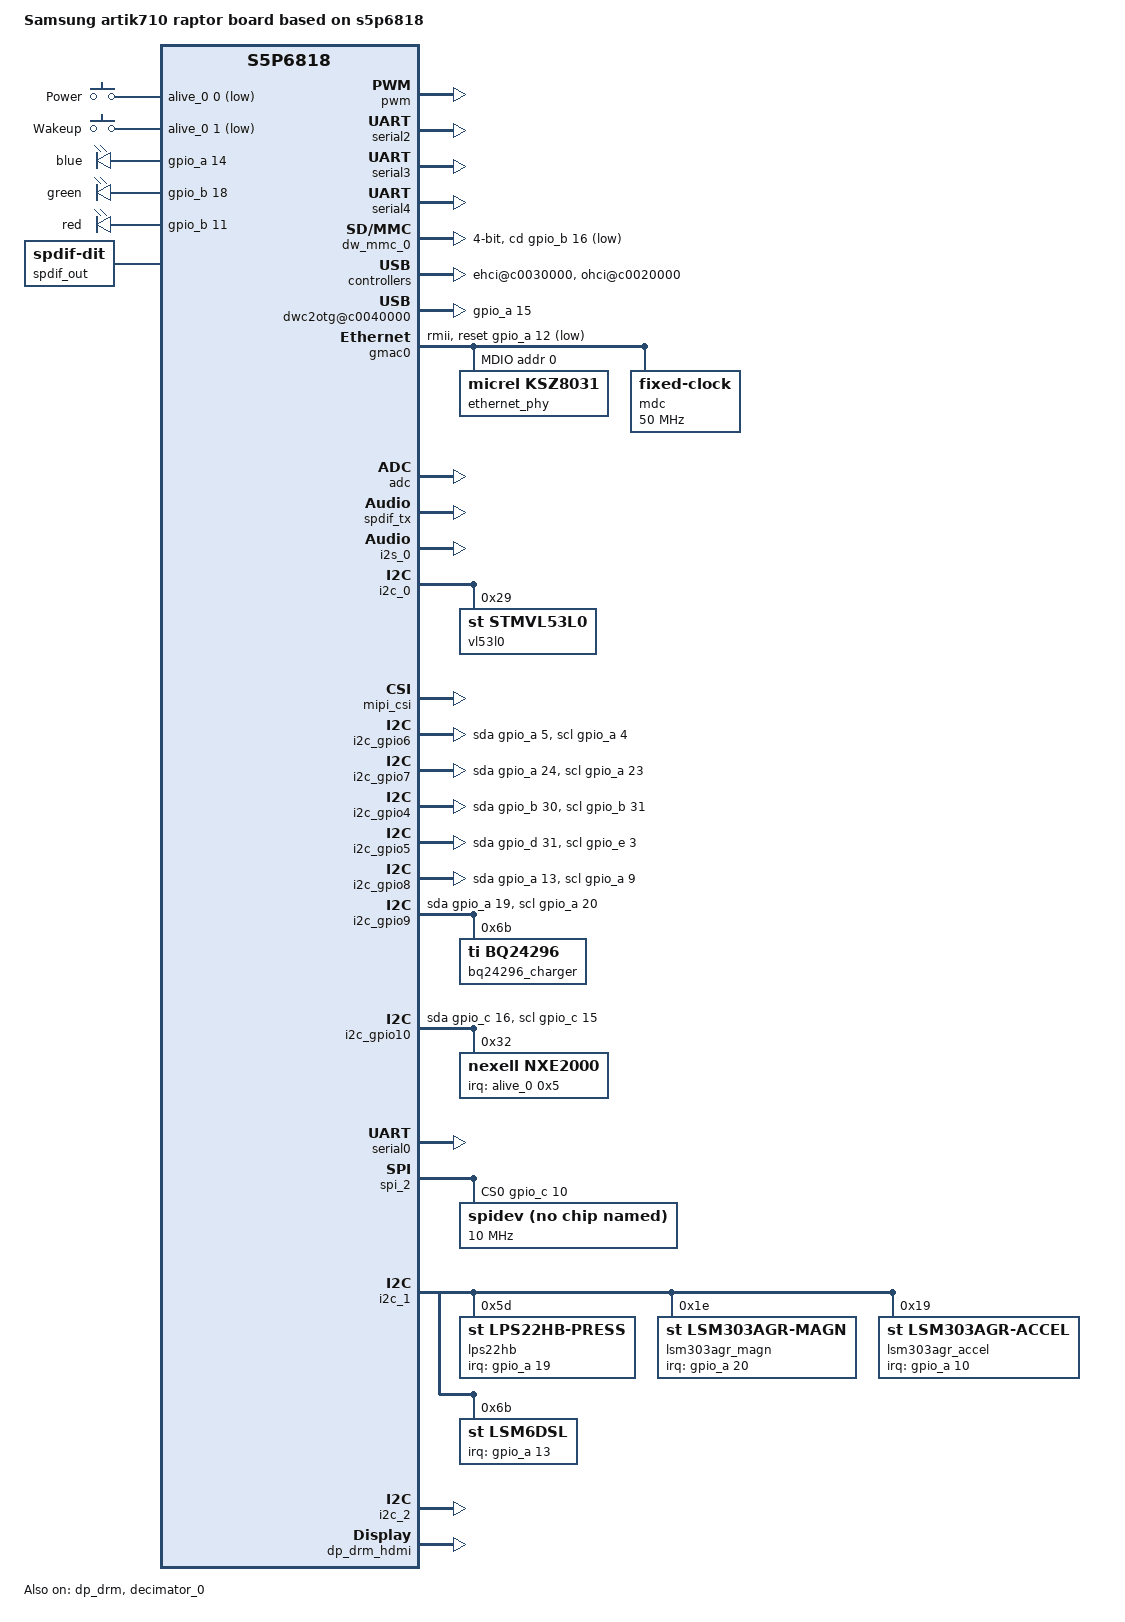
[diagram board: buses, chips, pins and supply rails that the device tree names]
/*
 * Copyright (C) 2016  Nexell Co., Ltd.
 * Author: Youngbok, Park <ybpark@nexell.co.kr>
 *
 * This program is free software; you can redistribute it and/or
 * modify it under the terms of the GNU General Public License
 * as published by the Free Software Foundation; either version 2
 * of the License, or (at your option) any later version.
 *
 * This program is distributed in the hope that it will be useful,
 * but WITHOUT ANY WARRANTY; without even the implied warranty of
 * MERCHANTABILITY or FITNESS FOR A PARTICULAR PURPOSE.  See the
 * GNU General Public License for more details.
 *
 * You should have received a copy of the GNU General Public License
 * along with this program.  If not, see <http://www.gnu.org/licenses/>.
 */

#include <dt-bindings/interrupt-controller/irq.h>
#include <dt-bindings/input/input.h>
#include "s5p6818-artik710.dtsi"

#define PMIC_PDATA_INIT(_id, _rname, _minuv,	\
			_maxuv, _init_uv, _init_enable,		\
			_set_init_uV, _slp_slots)	\
		regulator-name = _rname;		\
		regulator-min-microvolt = <_minuv>;	\
		regulator-max-microvolt = <_maxuv>;	\
		nx,id = <_id>;				\
		nx,init_enable = <_init_enable>;	\
		nx,init_uV = <_init_uv>;		\
		nx,set_init_uV = <_set_init_uV>;	\
		nx,sleep_slots = <_slp_slots>;

/ {
	model = "Samsung artik710 raptor board based on s5p6818";
	compatible = "samsung,artik710-raptor", "samsung,artik710",
		   "nexell,s5p6818";

	aliases {
		i2c3 = &i2c_gpio3;
		i2c4 = &i2c_gpio4;
		i2c5 = &i2c_gpio5;
		i2c6 = &i2c_gpio6;
		i2c7 = &i2c_gpio7;
		i2c8 = &i2c_gpio8;
		i2c9 = &i2c_gpio9;
		i2c10 = &i2c_gpio10;
	};

	nx-v4l2 {
		status = "okay";
	};

	nx-devfreq {
		pll = <0>;
		status = "okay";
	};

	soc {

		clocks {
			vip0:vip@c00c1000 { clock-frequency = <300000000>;};
			sdhc0:sdhc@c00c5000 {
			      clk-input = <(I_PLL2 | I_GATE_PCLK)>;
			};
			sdhc1:sdhc@c00cc000 {
			      clk-input = <(I_PLL2 | I_GATE_PCLK)>;
			};
			sdhc2:sdhc@c00cd000 {
			      clk-input = <(I_PLL2 | I_GATE_PCLK)>;
			};
			timer0:timer@c00b9000 {
			      clk-input = <I_PLL2>;
			};
			timer1:timer@c00bb000 {
			      clk-input = <I_PLL2>;
			};
			pwm0:pwm0@c00ba000 {
			      clk-input = <I_PLL2>;
			};
		};

		timer@c0017000 {
			clocks =  <&timer0>, <&timer1>;
			clock-names = "timer0", "timer1";
		};

		pwm:pwm@c0018000 {
			clocks =  <&pwm0>, <&pwm2>;
			clock-names = "pwm-tclk0", "pwm-tclk1";
		};

		serial2:serial@c00a2000 {
			status ="okay";
		};

		serial3:serial@c00a3000 {
			status ="okay";
		};

		serial4:serial@c006d000 {
			status ="okay";
		};

		dw_mmc_0:dw_mmc@c0062000 {
			num-slots = <1>;
			bus-width = <4>;
			cap-sd-highspeed;
			clock-frequency = <100000000>;
			card-detect-delay = <200>;
			disable-wp;
			cd-gpios = <&gpio_b 16 0>;
			cd-inverted;
			nexell,drive_dly = <0x0>;
			nexell,drive_shift = <0x02>;
			nexell,sample_dly = <0x00>;
			nexell,sample_shift = <0x01>;
			status = "okay";
		};

		nexell_usbphy: nexell-usbphy@c0012000 {
			status = "okay";
		};

		ehci@c0030000 {
			samsung,vbus-gpio = <&gpio_a 16 0>;
			status = "okay";
			port@0 {
				status = "okay";
			};
			port@1 {
				status = "okay";
			};
		};

		ohci@c0020000 {
			status = "okay";
			port@0 {
				status = "okay";
			};
		};

		dwc2otg@c0040000 {
			gpios = <&gpio_a 15 0>;
			status = "okay";
		};

		gmac0:ethernet@c0060000 {
			pinctrl-names = "default";
			pinctrl-0 = <&gmac_pins>;

			status = "okay";
			#address-cells = <0x1>;
			#size-cells = <0x0>;

			snps,phy-addr = <0>;
			snps,reset-gpio = <&gpio_a 12 0>;
			snps,reset-active-low;
			snps,reset-delays-us = <0 10000 30000>;
			phy-mode = "rmii";

			boost-busfreq;
			boost-busfreq-timeout = <100000>;
			

			mdio {
				#address-cells = <1>;
				#size-cells = <0>;

				ethernet_phy: ethernet-phy@0 {
					compatible = "micrel,ksz8031";
					micrel,rmii-reference-clock-select-25-mhz;
					clocks = <&mdc>;
					clock-names = "rmii-ref";
					phy-handle = <&ethernet_phy>;
					reg = <0>;
				};

			};

			mdc: rmii-ref {
				#clock-cells = <0>;
				compatible ="fixed-clock";
				clock-frequency = <50000000>;
			};
		};


		adc:adc@c0053000 {
			status = "okay";
		};

		watchdog@c0019000 {
			status = "okay";
		};

		pinctrl@C0010000 {
			key_pwr:key_pwr {
				nexell,pins = "alive-1";
				nexell,pin-function = <0>;
				nexell,pin-pull = <1>;
				nexell,pin-strength = <0>;
			};

			key_wakeup:key_wakeup {
				nexell,pins = "alive-2";
				nexell,pin-function = <0>;
				nexell,pin-pull = <1>;
				nexell,pin-strength = <0>;
			};

			pmic_irq:pmic_irq{
				nexell,pins = "alive-5";
				nexell,pin-function = <0>;
				nexell,pin-pull = <1>;
				nexell,pin-strength = <0>;
			};

			touchpanel_irq: touchpanel-irq {
				nexell,pins = "gpiob-22";
				nexell,pin-function = <1>;
				nexell,pin-pull = <1>;
				nexell,pin-strength = <0>;
			};

			tsp_irq: tsp-irq {
				nexell,pins = "gpiob-8";
				nexell,pin-function = <0>;
				nexell,pin-pull = <1>;
				nexell,pin-strength = <0>;
			};

			tsp_reset: tsp-reset {
				nexell,pins = "gpioc-25";
				nexell,pin-function = <0>;
				nexell,pin-pull = <1>;
				nexell,pin-strength = <0>;
			};
		};

		spdif_tx: spdiftx@c0059000 {
			#sound-dai-cells = <1>;
			pcm-bit = <16>;
			sample_rate = <48000>;
			status = "okay";
		};

		video-codec@c0080000 {
			status = "okay";
			sram = <0 0>;
		};

		i2s_0:i2s@c0055000 {
			#sound-dai-cells = <1>;
			master-mode = <1>;
			mclk-in = <0>;
			trans-mode = <0>;
			frame-bit = <32>;
			sample-rate = <48000>;
			pre-supply-mclk = <1>;
			status = "okay";
		};

		vip_0:vip@c0063000 {
			status = "okay";
		};

		i2c_0:i2c@c00a4000 {
			#address-cells = <1>;
			#size-cells = <0>;
			rate = <400000>;
			samsung,i2c-max-bus-freq = <400000>;
			status = "okay";

			vl53l0@29 {
				compatible = "st,stmvl53l0";
				reg = <0x29>;
			};
		};

		mipi_csi:mipi_csi@c00d0000 {
			data_lane = <2>;
			pllval = <750>;
			hssettle = <7>;
			status = "okay";
		};

		clipper_0:clipper0@c0063000 {
			interface_type = <NX_CAPTURE_INTERFACE_MIPI_CSI>;
			gpios = <&gpio_a 17 0 &gpio_a 3 0 &gpio_a 6 0>;
			data_order = <NX_VIN_Y0CBY1CR>;
			status = "okay";
			sensor {
				type = <NX_CAPTURE_SENSOR_I2C>;
				i2c_name = "S5K4ECGA";
				i2c_adapter = <0>;
				addr = <0x56>;
			};
			power {
				enable_seq = <
					NX_ACTION_START NX_ACTION_TYPE_GPIO 2 1 2 NX_ACTION_END
					NX_ACTION_START NX_ACTION_TYPE_GPIO 1 1 1 NX_ACTION_END
					NX_ACTION_START NX_ACTION_TYPE_GPIO 0 1 1 NX_ACTION_END
				>;

				disable_seq = <
					NX_ACTION_START NX_ACTION_TYPE_GPIO 0 0 1 NX_ACTION_END
					NX_ACTION_START NX_ACTION_TYPE_GPIO 1 0 1 NX_ACTION_END
					NX_ACTION_START NX_ACTION_TYPE_GPIO 2 0 2 NX_ACTION_END
				>;
			};
		};

		scaler@c0066000 {
			status = "okay";
		};
	};	/*** soc ***/

	i2c_gpio6:i2c@6 {
		compatible = "i2c-gpio";
		gpios = <&gpio_a 5 0 /* sda */
			&gpio_a 4 0 /* scl */
			>;
		i2c-gpio,delay-us = <10>;
		#address-cells = <1>;
		#size-cells = <0>;

	};

	i2c_gpio7:i2c@7 {
		compatible = "i2c-gpio";
		gpios = <&gpio_a 24 0 /* sda */
			&gpio_a 23 0 /* scl */
			>;
		i2c-gpio,delay-us = <100>;
		#address-cells = <1>;
		#size-cells = <0>;
	};

	sound {
		compatible = "simple-audio-card";
		simple-audio-card,name = "Artik710 raptor Audio";
		simple-audio-card,mclk-fs = <256>;

		simple-audio-card,dai-link@0 {
		    cpu {
			sound-dai = <&spdif_tx 0>;
		    };

		    codec {
			sound-dai = <&spdif_out>;
		    };
		};
	};

	i2c_gpio4: i2c@4 {
		compatible = "i2c-gpio";
		gpios = <&gpio_b 30 0 /* sda */
			&gpio_b 31 0 /* scl */
			>;
		i2c-gpio,delay-us = <1>;    /* ~100 kHz */
		#address-cells = <1>;
		#size-cells = <0>;


	};

	i2c_gpio5: i2c@5 {
		compatible = "i2c-gpio";
		gpios = <&gpio_d 31 0	/* sda */
			&gpio_e 3 0	/* scl */
			>;
		#address-cells = <1>;
		#size-cells = <0>;
		i2c-gpio,delay-us = <100>;

	};

	gpio_key: gpio_keys {
		compatible = "gpio-keys";
		#address-cells = <1>;
		#size-cells = <0>;
		pinctrl-names = "default";
		pinctrl-0 = <&key_pwr>, <&key_wakeup>;

		power {
			label = "Power";
			gpios = <&alive_0 0 1>;
			linux,code = <KEY_POWER>;
			gpio-key,wakeup;
		};

		wakeup {
			label = "Wakeup";
			gpios = <&alive_0 1 1>;
			linux,code = <KEY_WAKEUP>;
			gpio-key,wakeup;
		};
	};

	leds {
		compatible = "gpio-leds";
		status = "okay";

		blue {
			gpios = <&gpio_a 14 0>;
			default-state = "off";
		};
	
		green {
			gpios = <&gpio_b 18 0>;
			default-state = "off";
		};
	
		red {
			gpios = <&gpio_b 11 0>;
			default-state = "off";
		};
	};



	spdif_out: spdif-out {
		#sound-dai-cells = <0>;
		compatible = "linux,spdif-dit";
	};

	i2c_gpio3: i2c@3 {
		status = "disabled";
	};

	i2c_gpio8: i2c@8 {
		compatible = "i2c-gpio";
		gpios = <&gpio_a 13 0	/* sda */
			&gpio_a 9 0		/* scl */
			>;
		i2c-gpio,delay-us = <1>;	/* ~100kHz */
		#address-cells = <1>;
		#size-cells = <0>;
		status = "okay";

	};

	i2c_gpio9: i2c@9 {
		compatible = "i2c-gpio";
		gpios = <&gpio_a 19 0	/* sda */
			&gpio_a 20 0	/* scl */
			>;
		i2c-gpio,delay-us = <1>;	/* ~100kHz */
		#address-cells = <1>;
		#size-cells = <0>;
		status = "okay";

		bq24296_charger@6b {
			compatible = "ti,bq24296";
			reg = <0x6b>;
			ti,chg_current = <1000 1500 2000>;
		};
	};

	i2c_gpio10: i2c@10 {
		compatible = "i2c-gpio";
		gpios = <&gpio_c 16 0	/* sda */
			&gpio_c 15 0	/* scl */
			>;

		i2c-gpio,delay-us = <1>;	/* ~100kHz */
		#address-cells = <1>;
		#size-cells = <0>;
		status = "okay";

		nxe2000@32 {
			compatible = "nexell,nxe2000";
			reg = <0x32>;
			interrupt-parent = <&alive_0>;
			interrupts = <0x5 IRQ_TYPE_EDGE_FALLING>;
			pinctrl-names = "default";
			pinctrl-0 = <&pmic_irq>;
		};
	};

	regulators {
		VCC_DCDC0:
			dcdc1	{ PMIC_PDATA_INIT( 0,
				"nxe2000_dcdc1",
				900000, 1500000,
				1100000, 1, 0, 0x4)
				regulator-always-on;
				regulator-boot-on;};
		VCC_DCDC1:
			dcdc2	{ PMIC_PDATA_INIT( 1,
				"nxe2000_dcdc2",
				1000000, 1500000,
				1200000, 1, 0, 0x4)
				regulator-always-on;
				regulator-boot-on;};
		VCC_DCDC2:
			dcdc3	{ PMIC_PDATA_INIT( 2,
				"nxe2000_dcdc3",
				1000000, 3500000,
				3300000, 1, 1, 0xF)
				regulator-always-on;
				regulator-boot-on;};
		VCC_DCDC3:
			dcdc4	{ PMIC_PDATA_INIT( 3,
				"nxe2000_dcdc4",
				1000000, 2000000,
				1500000, 1, 0, 0xF)
				regulator-always-on;
				regulator-boot-on;};
		VCC_DCDC4:
			dcdc5	{ PMIC_PDATA_INIT( 4,
				"nxe2000_dcdc5",
				1000000, 2000000,
				1500000, 1, 0, 0x4)
				regulator-always-on;
				regulator-boot-on;};
		VCC_LDO0:
			ldo1	{ PMIC_PDATA_INIT( 5,
				"nxe2000_ldo1",
				1000000, 3500000,
				3300000, 0, 1, 0x0)
				regulator-boot-on;};
		VCC_LDO1:
			ldo2	{ PMIC_PDATA_INIT( 6,
				"nxe2000_ldo2",
				1000000, 3500000,
				3300000, 0, 1, 0x0)
				regulator-boot-on;};
		VCC_LDO2:
			ldo3	{ PMIC_PDATA_INIT( 7,
				"nxe2000_ldo3",
				1000000, 3500000,
				1800000, 1, 1, 0xF)
				regulator-always-on;
				regulator-boot-on;};
		VCC_LDO3:
			ldo4	{ PMIC_PDATA_INIT( 8,
				"nxe2000_ldo4",
				1000000, 3500000,
				1800000, 1, 1, 0x2)
				regulator-always-on;
				regulator-boot-on;};
		VCC_LDO4:
			ldo5	{ PMIC_PDATA_INIT( 9,
				"nxe2000_ldo5",
				1000000, 3500000,
				3300000, 0, 1, 0x0)
				regulator-boot-on;};
		VCC_LDO5:
			ldo6	{ PMIC_PDATA_INIT(10,
				"nxe2000_ldo6",
				1000000, 3500000,
				3300000, 1, 1, 0xF)
				regulator-always-on;
				regulator-boot-on;};
		VCC_LDO6:
			ldo7	{ PMIC_PDATA_INIT(11,
				"nxe2000_ldo7",
				1000000, 3500000,
				3300000, 1, 1, 0x0)
				regulator-always-on;
				regulator-boot-on;};
		VCC_LDO7:
			ldo8	{ PMIC_PDATA_INIT(12,
				"nxe2000_ldo8",
				1000000, 3500000,
				3300000, 0, 1, 0xF)
				regulator-boot-on;};
		VCC_LDO8:
			ldo9	{ PMIC_PDATA_INIT(13,
				"nxe2000_ldo9",
				1000000, 3500000,
				1800000, 0, 1, 0x2)
				regulator-boot-on;};
		VCC_LDO9:
			ldo10	{ PMIC_PDATA_INIT(14,
				"nxe2000_ldo10",
				1000000, 3500000,
				1200000, 1, 1, 0x4)
				regulator-always-on;
				regulator-boot-on;};
		VCC_RTC0:
			ldortc1	{ PMIC_PDATA_INIT(15,
				"nxe2000_rtc1",
				1700000, 3500000,
				1800000, 1, 1, 0xF)
				regulator-always-on;
				regulator-boot-on;};
		VCC_RTC1:
			ldortc2	{ PMIC_PDATA_INIT(16,
				"nxe2000_rtc2",
				1000000, 3500000,
				1000000, 1, 1, 0xF)
				regulator-always-on;
				regulator-boot-on;};
	}; /* regulators */

};

&serial0 {
	status = "okay";
};

&spi_2 {
	status = "okay";
	cs-gpios = <&gpio_c 10 0>;
	spidev@0 {
		compatible = "linux,spidev";
		reg = <0>;
		spi-max-frequency = <10000000>;
		controller-data {
			samsung,spi-feedback-delay = <0>;
		};
	};
};

&i2c_1 {
	#address-cells = <1>;
	#size-cells = <0>;
	rate = <400000>;
	samsung,i2c-max-bus-freq = <400000>;
	status = "okay";


	lps22hb@5d {
		compatible = "st,lps22hb-press";
		reg = <0x5d>;
		st,drdy-int-pin = <1>;
		interrupt-parent = <&gpio_a>;
		interrupts = <19 IRQ_TYPE_EDGE_RISING>;
	};

	lsm303agr_magn@1e {
		compatible = "st,lsm303agr-magn";
		reg = <0x1e>;
		st,drdy-int-pin = <1>;
		interrupt-parent = <&gpio_a>;
		interrupts = <20 IRQ_TYPE_EDGE_RISING>;
	};

	lsm303agr_accel@19 {
		compatible = "st,lsm303agr-accel";
		reg = <0x19>;
		st,drdy-int-pin = <1>;
		interrupt-parent = <&gpio_a>;
		interrupts = <10 IRQ_TYPE_EDGE_RISING>;
	};

	lsm6dsl@6b {
		compatible = "st,lsm6dsl";
		reg = <0x6b>;
		st,drdy-int-pin = <2>;
		interrupt-parent = <&gpio_a>;
		interrupts = <13 IRQ_TYPE_EDGE_RISING>, <9 IRQ_TYPE_EDGE_RISING>;
	};

};

&i2c_2 {
	#address-cells = <1>;
	#size-cells = <0>;
	status = "okay";

};

&pwm {
	status = "okay";
	pinctrl-0 = <&pwm0_pin &pwm1_pin &pwm2_pin>;
	samsung,pwm-outputs = <0>, <1>, <2>;
};

&dp_drm {
        status = "okay";
        ports {
                port@0 {
                        reg = <0>;
                        back_color = < 0x0 >;
                        color_key = < 0x0 >;
			plane-names = "video", "primary", "rgb";
		};
                port@1 {
                        reg = <1>;
                        back_color = < 0x0 >;
                        color_key = < 0x0 >;
			plane-names = "video", "primary";
		};
       };
};

&dp_drm_mipi {
	hs_bitrate = <960>;
	lp_bitrate = <100>;
	status = "disabled";

};

&dp_drm_hdmi {
	ddc-i2c-bus = <&i2c_gpio7>;
	enable-gpios = <&gpio_a 21 0>;
	status = "ok";
	q_range = <0>;
};

&dp_drm_lvds {
	status = "disabled";

};

&decimator_0 {
	status = "okay";
};
